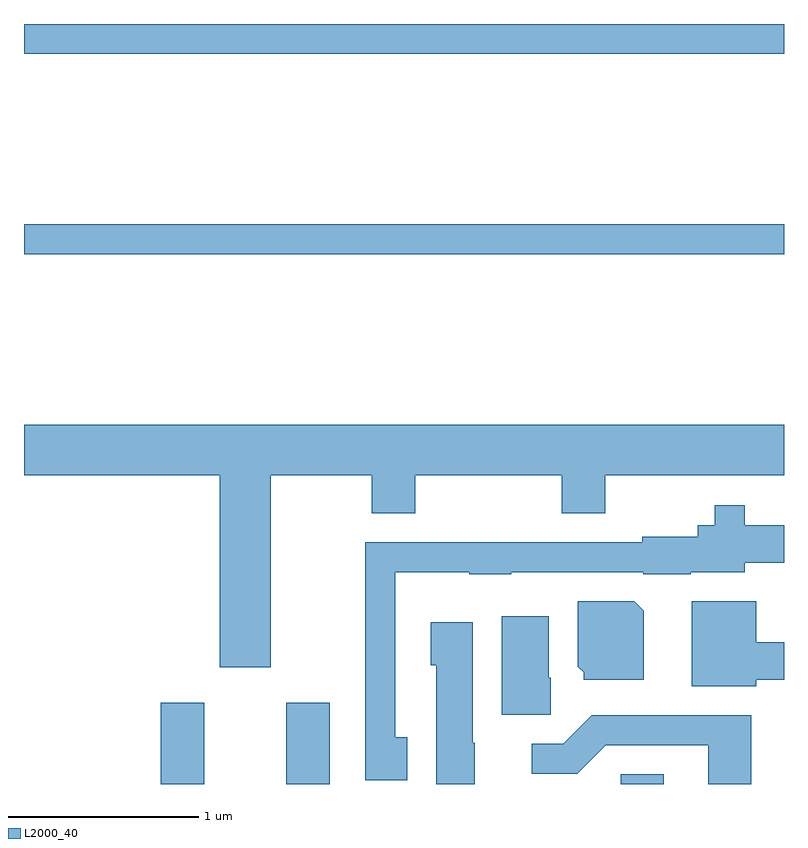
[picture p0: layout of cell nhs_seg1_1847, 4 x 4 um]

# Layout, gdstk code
import gdstk
lib = gdstk.Library(unit=1e-6, precision=1e-09)
def R(c, l, rs):  # rectangles x0, y0, x1, y1
    for r in rs: c.add(gdstk.rectangle(r[:2], r[2:], *l))
def P(c, l, *ps):  # polygons
    for p in ps: c.add(gdstk.Polygon(p, *l))
L2000_40 = (2000, 40)

nhs_seg1_1847 = lib.new_cell('nhs_seg1_1847')
R(nhs_seg1_1847, L2000_40, [(242.331,915.712,242.559,916.139), (242.991,915.712,243.219,916.139), (244.751,915.712,244.979,915.764), (241.611,918.501,245.611,918.659), (241.611,919.556,245.611,919.712)])
P(nhs_seg1_1847, L2000_40, [(242.909,917.336),(243.441,917.336),(243.441,917.136),(243.669,917.136),(243.669,917.336),(244.441,917.336),(244.441,917.136),(244.669,917.136),(244.669,917.336),(245.611,917.336),(245.611,917.604),(241.611,917.604),(241.611,917.336),(242.641,917.336),(242.641,916.326),(242.909,916.326)],
  [(243.629,915.959),(243.564,915.959),(243.564,916.826),(243.955,916.826),(243.955,916.816),(244.175,916.816),(244.175,916.826),(244.87,916.826),(244.87,916.816),(245.12,916.816),(245.12,916.826),(245.404,916.826),(245.404,916.876),(245.611,916.876),(245.611,917.074),(245.404,917.074),(245.404,917.179),(245.246,917.179),(245.246,917.074),(245.156,917.074),(245.156,917.014),(244.866,917.014),(244.866,916.984),(243.406,916.984),(243.406,915.731),(243.629,915.731)],
  [(244.874,916.624),(244.824,916.674),(244.526,916.674),(244.526,916.329),(244.556,916.299),(244.556,916.261),(244.874,916.261)],
  [(245.464,916.261),(245.611,916.261),(245.611,916.459),(245.464,916.459),(245.464,916.674),(245.126,916.674),(245.126,916.226),(245.464,916.226)],
  [(244.384,916.27),(244.374,916.27),(244.374,916.594),(244.126,916.594),(244.126,916.076),(244.384,916.076)],
  [(243.984,915.93),(243.974,915.93),(243.974,916.564),(243.751,916.564),(243.751,916.336),(243.781,916.336),(243.781,915.712),(243.984,915.712)],
  [(245.439,916.074),(244.599,916.074),(244.449,915.924),(244.283,915.924),(244.283,915.766),(244.522,915.766),(244.672,915.916),(245.211,915.916),(245.211,915.712),(245.439,915.712)])

lib.write_gds('nhs_seg1_1847.gds')
